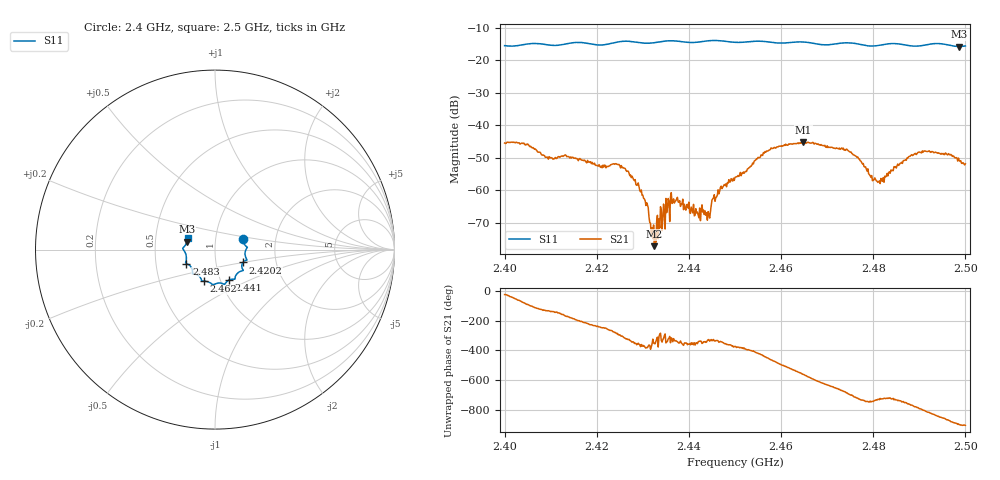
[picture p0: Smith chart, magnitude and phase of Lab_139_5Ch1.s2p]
# Hz S RI R 50
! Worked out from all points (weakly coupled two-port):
!   601 points, 2.4 GHz to 2.5 GHz, reference 50 ohm
!   highest |S21| = -45.20 dB at 2.4648 GHz (marker M1); lowest = -77.3 dB at 2.4325 GHz (marker M2)
!   lowest |S11| = -15.8 dB at 2.4987 GHz (marker M3), VSWR 1.39, Z = 36.4 + j3.33 ohm
!   |S11| at or under -10 dB: start of sweep to end of sweep
!   S12 and S22 are empty: the file has one direction only
!   S11 on the Smith chart (normalised r, x): 2.4 GHz: 1.36, +0.17; 2.4202 GHz: 1.35, -0.20; 2.441 GHz: 1.09, -0.39; 2.462 GHz: 0.83, -0.30; 2.483 GHz: 0.72, -0.12; 2.5 GHz: 0.73, +0.09
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2.4e9  0.156 0.0602  0.00494 -0.00193  0 0  0 0
2.416667e9  0.1774 -0.0582  -0.00268 0.00113  0 0  0 0
2.420167e9  0.1556 -0.0718  -0.00137 0.00194  0 0  0 0
2.4265e9  0.157 -0.1166  0.00149 0.00125  0 0  0 0
2.4295e9  0.139 -0.1221  0.000915 -0.000226  0 0  0 0
2.4325e9  0.1153 -0.1455  0.000136 1.57e-05  0 0  0 0
2.433333e9  0.1128 -0.1525  0.000171 -5.04e-05  0 0  0 0
2.4365e9  0.1098 -0.1652  0.000607 0.000212  0 0  0 0
2.441e9  0.0765 -0.1705  0.000603 -1.07e-05  0 0  0 0
2.444167e9  0.0561 -0.19  0.000391 0.000253  0 0  0 0
2.446833e9  0.0492 -0.1926  0.00102 0.000406  0 0  0 0
2.45e9  0.0265 -0.1861  0.00154 -0.000323  0 0  0 0
2.462e9  -0.062 -0.1761  -0.00491 -0.0015  0 0  0 0
2.464833e9  -0.0737 -0.1752  -0.00509 0.00206  0 0  0 0
2.466667e9  -0.0763 -0.1667  -0.00339 0.00408  0 0  0 0
2.474667e9  -0.1256 -0.1357  0.00361 0.0017  0 0  0 0
2.481e9  -0.1443 -0.0853  0.00129 -0.000232  0 0  0 0
2.483e9  -0.1592 -0.0779  0.0018 -8.15e-05  0 0  0 0
2.483333e9  -0.1608 -0.0774  0.00187 -5.93e-05  0 0  0 0
2.491167e9  -0.1701 -0.00918  0.000232 -0.004  0 0  0 0
2.498667e9  -0.1557 0.0446  -0.00285 0.00013  0 0  0 0
2.5e9  -0.1529 0.0632  -0.00252 0.000331  0 0  0 0
